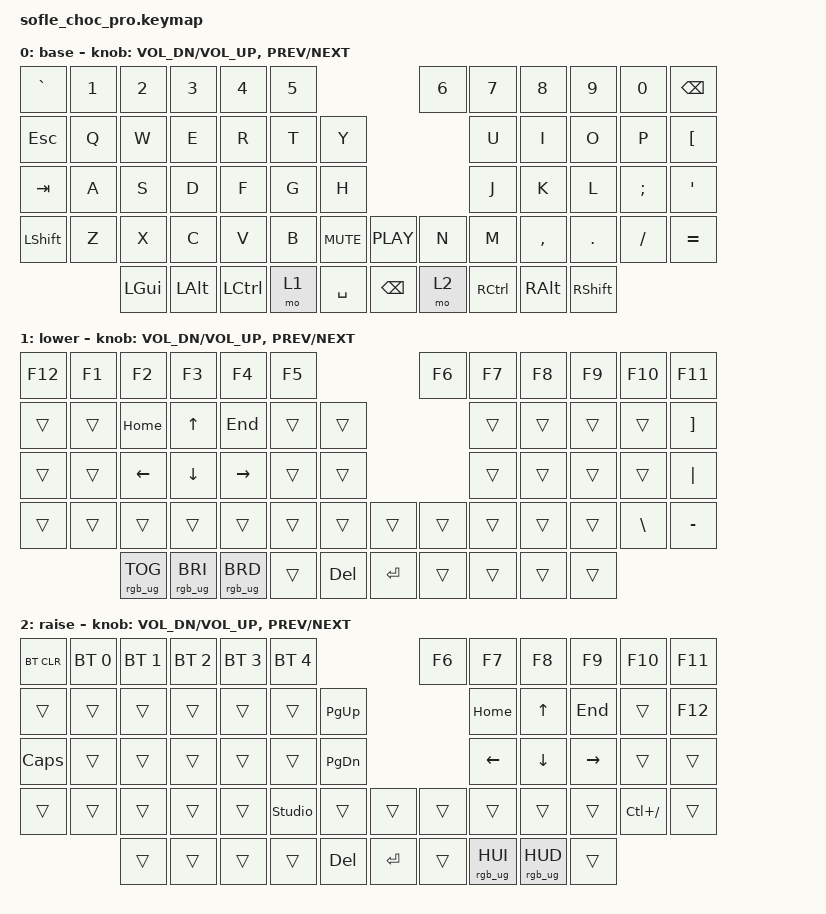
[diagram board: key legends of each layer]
/*
* Copyright (c) 2020 The ZMK Contributors
*
* SPDX-License-Identifier: MIT
*/

#include <behaviors.dtsi>
#include <dt-bindings/zmk/bt.h>
#include <dt-bindings/zmk/keys.h>
#include <dt-bindings/zmk/rgb.h>

#define BASE 0
#define LOWER 1
#define RAISE 2
#define ADJUST 3

/ {
    // Activate ADJUST layer by pressing raise and lower

    conditional_layers {
        compatible = "zmk,conditional-layers";

        adjust_layer {
            if-layers = <1 2>;
            then-layer = <3>;
        };
    };

    macros {
        comment_code: comment_code {
            compatible = "zmk,behavior-macro";
            #binding-cells = <0>;
            bindings = <&kp LCTRL &kp SLASH>;
            label = "COMMENT_CODE";
        };
    };

    keymap {
        compatible = "zmk,keymap";

        base_layer {
            display-name = "base";

            // ------------------------------------------------------------------------------------------------------------
            // |   `   |  1  |  2  |  3   |  4   |  5   |                   |  6   |  7    |  8    |  9   |   0   |   `   |
            // |  ESC  |  Q  |  W  |  E   |  R   |  T   |                   |  Y   |  U    |  I    |  O   |   P   | BKSPC |
            // |  TAB  |  A  |  S  |  D   |  F   |  G   |                   |  H   |  J    |  K    |  L   |   ;   |   '   |
            // | SHIFT |  Z  |  X  |  C   |  V   |  B   |  MUTE  |  | PLAY  |  N   |  M    |  ,    |  .   |   /   | SHIFT |
            //               | GUI | ALT  | CTRL | LOWER|  ENTER |  | SPACE | RAISE| CTRL  | ALT   | GUI  |

            bindings = <
&kp GRAVE  &kp N1  &kp N2    &kp N3    &kp N4     &kp N5                             &kp N6  &kp N7     &kp N8     &kp N9           &kp N0    &kp BACKSPACE
&kp ESC    &kp Q   &kp W     &kp E     &kp R      &kp T   &kp Y                              &kp U      &kp I      &kp O            &kp P     &kp LEFT_BRACKET
&kp TAB    &kp A   &kp S     &kp D     &kp F      &kp G   &kp H                              &kp J      &kp K      &kp L            &kp SEMI  &kp SQT
&kp LSHFT  &kp Z   &kp X     &kp C     &kp V      &kp B   &kp C_MUTE  &kp C_PLAY     &kp N   &kp M      &kp COMMA  &kp DOT          &kp FSLH  &kp EQUAL
                   &kp LGUI  &kp LALT  &kp LCTRL  &mo 1   &kp SPACE   &kp BACKSPACE  &mo 2   &kp RCTRL  &kp RALT   &kp RIGHT_SHIFT
            >;

            sensor-bindings = <&inc_dec_kp C_VOL_DN C_VOL_UP &inc_dec_kp C_PREV C_NEXT>;
        };

        lower_layer {
            display-name = "lower";

            // ------------------------------------------------------------------------------------------------------------
            // |       |  F1 |  F2 |  F3  |  F4  |  F5  |                   |  F6  |  F7   |  F8   |  F9  |  F10  |  F11  |
            // |   `   |  1  |  2  |  3   |  4   |  5   |                   |  6   |  7    |  8    |  9   |   0   |  F12  |
            // |       |  !  |  @  |  #   |  $   |  %   |                   |  ^   |  &    |  *    |  (   |   )   |   |   |
            // |       |  =  |  -  |  +   |  {   |  }   |        |  |       |  [   |  ]    |  ;    |  :   |   \   |       |
            //               |     |      |      |      |        |  |       |      |       |       |      |

            bindings = <
&kp F12  &kp F1  &kp F2           &kp F3           &kp F4           &kp F5                         &kp F6  &kp F7  &kp F8  &kp F9  &kp F10   &kp F11
&trans   &trans  &kp HOME         &kp UP           &kp END          &trans  &trans                         &trans  &trans  &trans  &trans    &kp RIGHT_BRACKET
&trans   &trans  &kp LEFT         &kp DOWN         &kp RIGHT        &trans  &trans                         &trans  &trans  &trans  &trans    &kp PIPE
&trans   &trans  &trans           &trans           &trans           &trans  &trans      &trans     &trans  &trans  &trans  &trans  &kp BSLH  &kp MINUS
                 &rgb_ug RGB_TOG  &rgb_ug RGB_BRI  &rgb_ug RGB_BRD  &trans  &kp DELETE  &kp ENTER  &trans  &trans  &trans  &trans
            >;

            sensor-bindings = <&inc_dec_kp C_VOL_DN C_VOL_UP &inc_dec_kp C_PREV C_NEXT>;
        };

        raise_layer {
            display-name = "raise";

            // ------------------------------------------------------------------------------------------------------------
            // | BTCLR | BT1  | BT2  |  BT3  |  BT4  |  BT5 |                |      |      |       |      |       |       |
            // |       | INS  | PSCR | GUI   |       |      |                | PGUP |      |   ^   |      |       |       |
            // |       | ALT  | CTRL | SHIFT |       | CAPS |                | PGDN |   <- |   v   |  ->  |  DEL  | BKSPC |
            // |       | UNDO | CUT  | COPY  | PASTE |      |      |  |      |      |      |       |      |       |       |
            //                |      |       |       |      |      |  |      |      |      |       |      |

            bindings = <
&bt BT_CLR    &bt BT_SEL 0  &bt BT_SEL 1  &bt BT_SEL 2  &bt BT_SEL 3  &bt BT_SEL 4                           &kp F6  &kp F7           &kp F8           &kp F9     &kp F10        &kp F11
&trans        &trans        &trans        &trans        &trans        &trans          &kp PG_UP                      &kp HOME         &kp UP           &kp END    &trans         &kp F12
&kp CAPSLOCK  &trans        &trans        &trans        &trans        &trans          &kp PG_DN                      &kp LEFT         &kp DOWN         &kp RIGHT  &trans         &trans
&trans        &trans        &trans        &trans        &trans        &studio_unlock  &trans      &trans     &trans  &trans           &trans           &trans     &kp LC(SLASH)  &trans
                            &trans        &trans        &trans        &trans          &kp DELETE  &kp ENTER  &trans  &rgb_ug RGB_HUI  &rgb_ug RGB_HUD  &trans
            >;

            sensor-bindings = <&inc_dec_kp C_VOL_DN C_VOL_UP &inc_dec_kp C_PREV C_NEXT>;
        };
    };
};
